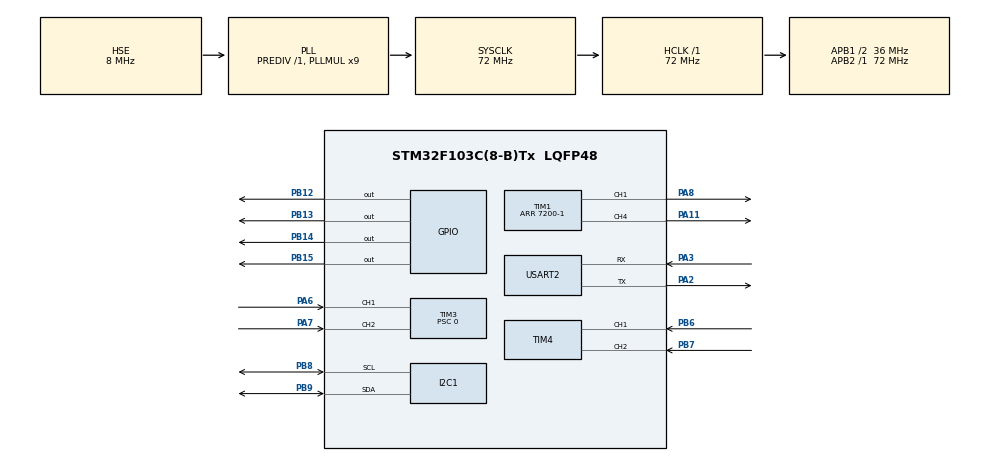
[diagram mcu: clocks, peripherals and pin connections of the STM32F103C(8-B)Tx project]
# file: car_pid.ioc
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Mcu.Family=STM32F1
Mcu.Name=STM32F103C(8-B)Tx
Mcu.Package=LQFP48
NVIC.PriorityGroup=NVIC_PRIORITYGROUP_4
NVIC.TIM2_IRQn=true\:0\:0\:false\:false\:true\:true\:true\:true
NVIC.TIM3_IRQn=true\:0\:0\:false\:false\:true\:true\:true\:true
NVIC.USART2_IRQn=true\:0\:0\:false\:false\:true\:true\:true\:true
PA11.Signal=S_TIM1_CH4
PA13.Mode=Serial_Wire
PA13.Signal=SYS_JTMS-SWDIO
PA14.Mode=Serial_Wire
PA14.Signal=SYS_JTCK-SWCLK
PA2.Mode=Asynchronous
PA2.Signal=USART2_TX
PA3.Mode=Asynchronous
PA3.Signal=USART2_RX
PA6.Signal=S_TIM3_CH1
PA7.Signal=S_TIM3_CH2
PA8.Signal=S_TIM1_CH1
PB12.GPIO_ModeDefaultOutputPP=GPIO_MODE_OUTPUT_PP
PB12.PinState=GPIO_PIN_RESET
PB12.Signal=GPIO_Output
PB13.GPIO_ModeDefaultOutputPP=GPIO_MODE_OUTPUT_PP
PB13.PinState=GPIO_PIN_RESET
PB13.Signal=GPIO_Output
PB14.GPIO_ModeDefaultOutputPP=GPIO_MODE_OUTPUT_PP
PB14.PinState=GPIO_PIN_RESET
PB14.Signal=GPIO_Output
PB15.GPIO_ModeDefaultOutputPP=GPIO_MODE_OUTPUT_PP
PB15.PinState=GPIO_PIN_RESET
PB15.Signal=GPIO_Output
PB6.Signal=S_TIM4_CH1
PB7.Signal=S_TIM4_CH2
PB8.Mode=I2C
PB8.Signal=I2C1_SCL
PB9.GPIO_Mode=GPIO_MODE_AF_OD
PB9.Mode=I2C
PB9.Signal=I2C1_SDA
PD0-OSC_IN.Mode=HSE-External-Oscillator
PD0-OSC_IN.Signal=RCC_OSC_IN
PD1-OSC_OUT.Mode=HSE-External-Oscillator
PD1-OSC_OUT.Signal=RCC_OSC_OUT
ProjectManager.HeapSize=0x200
ProjectManager.StackSize=0x400
ProjectManager.TargetToolchain=MDK-ARM V5.32
RCC.AHBFreq_Value=72000000
RCC.APB1CLKDivider=RCC_HCLK_DIV2
RCC.APB1Freq_Value=36000000
RCC.APB1TimFreq_Value=72000000
RCC.APB2Freq_Value=72000000
RCC.APB2TimFreq_Value=72000000
RCC.HCLKFreq_Value=72000000
RCC.PLLMUL=RCC_PLL_MUL9
RCC.PLLSourceVirtual=RCC_PLLSOURCE_HSE
RCC.SYSCLKFreq_VALUE=72000000
RCC.SYSCLKSource=RCC_SYSCLKSOURCE_PLLCLK
RCC.USBFreq_Value=72000000
SH.S_TIM1_CH1.0=TIM1_CH1,PWM Generation1 CH1
SH.S_TIM1_CH4.0=TIM1_CH4,PWM Generation4 CH4
SH.S_TIM3_CH1.0=TIM3_CH1,Encoder_Interface
SH.S_TIM3_CH2.0=TIM3_CH2,Encoder_Interface
SH.S_TIM4_CH1.0=TIM4_CH1,Encoder_Interface
SH.S_TIM4_CH2.0=TIM4_CH2,Encoder_Interface
TIM1.Channel-PWM\ Generation1\ CH1=TIM_CHANNEL_1
TIM1.Channel-PWM\ Generation4\ CH4=TIM_CHANNEL_4
TIM1.Period=7200-1
TIM1.Pulse-PWM\ Generation1\ CH1=0
TIM1.Pulse-PWM\ Generation4\ CH4=0
TIM2.Period=19
TIM2.Prescaler=7199
TIM3.EncoderMode=TIM_ENCODERMODE_TI12
TIM3.Period=65535
TIM3.Prescaler=0
TIM4.EncoderMode=TIM_ENCODERMODE_TI12
USART2.VirtualMode=VM_ASYNC
VP_TIM1_VS_ClockSourceINT.Mode=Internal
VP_TIM2_VS_ClockSourceINT.Mode=Internal
board=custom

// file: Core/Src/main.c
/* USER CODE BEGIN Header */
/**
 ******************************************************************************
 * @file           : main.c
 * @brief          : Main  program body
 ******************************************************************************
 * @attention
 *
 * Copyright (c) 2026 STMicroelectronics.
 * All rights reserved.
 *
 * This software is licensed under terms that can be found in the LICENSE file
 * in the root directory of this software component.
 * If no LICENSE file comes with this software, it is provided AS-IS.
 *
 ******************************************************************************
 */
/* USER CODE END Header */
#include "main.h"
#include "i2c.h"
#include "tim.h"
#include "usart.h"
#include "gpio.h"

/* USER CODE BEGIN Includes */
#include "head.h"
/* USER CODE END Includes */

/* USER CODE BEGIN PD */

#define MOTOR_TEST_WITHOUT_MPU 0 // 1: 上电自检电机 1 秒（无 MPU/DMP 时可用）；0: 不自检，直接进入 PID 控制
#define BALANCE_LOOP_ONLY 1      // 1:关闭速度环     0: 开启速度环
#define ENABLE_UPRIGHT_CONTROL 1 // 1: 允许PID 控制；0: PID 控制（仅用于调试）
#define CONTROL_DEBUG_OLED 0     // 1=MPU initialization diagnostics, 0=PID component-ratio view
#define OLED_REFRESH_MS 100U     // OLED refresh period (ms)
#define OLED_PID_VIEW 1          // 0=速度环 P/I/D, 1=直立环 loop P/I/D
#define SPEED_DIRECTION_OLED 0   // 1=OLED显示100ms编码器累计值，用于检查速度环方向
#define OLED_ENABLE 1            // 0=完全关闭OLED初始化与刷新，用于排查串口

/* USER CODE END PD */

/* USER CODE BEGIN PV */
// int Encoder_left,Encoder_Right;
// float pitch,roll,yaw;
uint32_t sys_tick;
uint8_t flag_10s = 0; // TIM3 中断计数（5ms/次）
uint8_t mpu_ok = 0;   // DMP 初始化成功标志，供 TIM3 中断内控制使用
uint8_t mpu_ack = 1;
uint8_t mpu_who = 0;
uint8_t mpu_addr = 0;
uint8_t i2c_bus_ok = 1;
extern float roll, pitch, yaw;
extern int Encoder_Left, Encoder_Right;
extern float distance;
extern int MOTO1, MOTO2;
static volatile int32_t encoder_left_sum = 0;
static volatile int32_t encoder_right_sum = 0;
/* USER CODE END PV */

void SystemClock_Config(void);
/* USER CODE BEGIN PFP */
// 閺勫墽銇?
// void R65ad(void);
void HAL_TIM_PeriodElapsedCallback(TIM_HandleTypeDef *htim);
/* USER CODE END PFP */

/* USER CODE BEGIN 0 */
// OLED 显示带符号整数：固定符号位 + len 位数值（前导零填充空格）
static void OLED_ShowSignedNum(uint8_t x, uint8_t y, int num, uint8_t len, uint8_t size2)
{
  if (num < 0)
  {
    OLED_ShowChar(x, y, '-', size2);
    num = -num;
  }
  else
  {
    OLED_ShowChar(x, y, '+', size2);
  }
  OLED_ShowNum(x + size2 / 2, y, (unsigned int)num, len, size2);
}

// Integer absolute value used for PID component percentages.
static int AbsInt(int value)
{
  return (value < 0) ? -value : value;
}
/* USER CODE END 0 */

int main(void)
{

  /* USER CODE BEGIN 1 */
  uint8_t dmp_ret = 0; // DMP 初始化返回值（全局，供主循环显示）
  /* USER CODE END 1 */

  /* MCU Configuration--------------------------------------------------------*/

  /* Reset of all peripherals, Initializes the Flash interface and the Systick. */
  HAL_Init();

  /* Configure the system clock */
  SystemClock_Config();

  /* USER CODE BEGIN SysInit */
  // // 直接操作寄存器释�? PB3(JTDO)/PB4(JNTRST)，仅保留 SWD(PA13/PA14)
  RCC->APB2ENR |= RCC_APB2ENR_AFIOEN;
  AFIO->MAPR = (AFIO->MAPR & ~0x07000000) | 0x02000000; // SWJ_CFG=010: JTAG off, SWD on
  for (volatile int _i = 0; _i < 100; _i++)
    ; // �? AFIO 生效
  /* USER CODE END SysInit */

  /* Initialize all configured peripherals */
  MX_GPIO_Init();
  MX_TIM1_Init();
  MX_I2C1_Init();
  MX_TIM4_Init();
  MX_TIM3_Init();
  MX_USART2_UART_Init();
  MX_TIM2_Init();
  /* USER CODE BEGIN 2 */
  VOFA_Init();
  HAL_Delay(500);
  i2c_bus_ok = (HAL_I2C_IsDeviceReady(&hi2c1, (uint16_t)(0x3C << 1), 3, 100) == HAL_OK) ? 0 : 1;
  mpu_ack = MPU_CheckDevice();
  mpu_addr = MPU_GetAddress();
  mpu_who = MPU_Read_Byte(MPU_DEVICE_ID_REG);

  dmp_ret = mpu_dmp_init();
  if (dmp_ret == 0)
  {
    mpu_ok = 1;
  }
  else
  {
  }

  /* 电机 PWM/编码器与 MPU/DMP 解耦，先初始化硬件。 */
  HAL_TIM_PWM_Start(&htim1, TIM_CHANNEL_4);
  HAL_TIM_PWM_Start(&htim1, TIM_CHANNEL_1);
  HAL_TIM_Encoder_Start(&htim3, TIM_CHANNEL_ALL);
  HAL_TIM_Encoder_Start(&htim4, TIM_CHANNEL_ALL);
  Load(0, 0);

#if MOTOR_TEST_WITHOUT_MPU
  /* 无 MPU 时执行 1 秒电机自检；确认正常后可将宏改为 0。 */
  Load(3600, 3600);
  HAL_Delay(1000);
  Load(0, 0);
#endif

  HAL_TIM_Base_Start_IT(&htim2);
  /* USER CODE BEGIN 2 */
#if OLED_ENABLE
  /* OLED 显示初始化，用于显示 PID 状态/按键自检（无需串口） */
  OLED_Init();
  OLED_Clear();
#endif
  /* USER CODE END 2 */

  /* Infinite loop */
  /* USER CODE BEGIN WHILE */
  while (1)
  {
#if OLED_ENABLE
    static uint32_t oled_refresh_tick = 0;
#endif
    /* 控制已在 TIM3 中断内以固定 10ms 硬实时节拍执行，不受串口/延时阻塞干扰 */
    /* 串口输出：文本/波形模式在 vofa.h 里切换，此函数内部自动节流 */
    VOFA_PeriodicTask();

#if OLED_ENABLE
    /* OLED PID component view: each P/I/D term is shown as a percentage of
       the sum of absolute component outputs. Select speed or balance loop with
       OLED_PID_VIEW at the top of this file. */
#if SPEED_DIRECTION_OLED
    if ((HAL_GetTick() - oled_refresh_tick) >= OLED_REFRESH_MS)
    {
      int32_t encoder_left_display;
      int32_t encoder_right_display;
      int32_t encoder_sum_display;

      oled_refresh_tick = HAL_GetTick();

      /* 与TIM3中断交换累计值，避免显示刷新期间丢失编码器脉冲。 */
      __disable_irq();
      encoder_left_display = encoder_left_sum;
      encoder_right_display = encoder_right_sum;
      encoder_left_sum = 0;
      encoder_right_sum = 0;
      __enable_irq();

      encoder_sum_display = encoder_left_display + encoder_right_display;

      OLED_Clear();
      OLED_ShowString(0, 0, (uint8_t *)"EL:", 16);
      OLED_ShowSignedNum(32, 0, (int)encoder_left_display, 5, 16);
      OLED_ShowString(0, 2, (uint8_t *)"ER:", 16);
      OLED_ShowSignedNum(32, 2, (int)encoder_right_display, 5, 16);
      OLED_ShowString(0, 4, (uint8_t *)"SUM:", 16);
      OLED_ShowSignedNum(40, 4, (int)encoder_sum_display, 5, 16);
      OLED_ShowString(0, 6, (uint8_t *)"FWD KP:", 16);
      if (encoder_sum_display > 2)
        OLED_ShowChar(64, 6, '-', 16);
      else if (encoder_sum_display < -2)
        OLED_ShowChar(64, 6, '+', 16);
      else
        OLED_ShowChar(64, 6, '?', 16);
    }
#elif CONTROL_DEBUG_OLED
    int pitch_x10 = (int)(pitch * 10.0f);
    OLED_Clear();
    OLED_ShowString(0, 0, (uint8_t *)"A:", 16);
    OLED_ShowSignedNum(16, 0, mpu_ack, 1, 16);
    OLED_ShowString(40, 0, (uint8_t *)"B:", 16);
    OLED_ShowSignedNum(56, 0, i2c_bus_ok, 1, 16);
    OLED_ShowString(80, 0, (uint8_t *)"E:", 16);
    OLED_ShowSignedNum(96, 0, dmp_ret, 2, 16);

    OLED_ShowString(0, 2, (uint8_t *)"ADDR:", 16);
    OLED_ShowSignedNum(56, 2, mpu_addr, 3, 16);

    OLED_ShowString(0, 4, (uint8_t *)"WHO:", 16);
    OLED_ShowSignedNum(40, 4, mpu_who, 3, 16);

    OLED_ShowString(0, 6, (uint8_t *)"M1:", 16);
    OLED_ShowSignedNum(32, 6, MOTO1, 5, 16);
#else
    if ((HAL_GetTick() - oled_refresh_tick) >= OLED_REFRESH_MS)
    {
      int p_out, i_out, d_out;
      int p_pct, i_pct, d_pct;
      int total_out;

      oled_refresh_tick = HAL_GetTick();

#if OLED_PID_VIEW == 1
      OLED_ShowString(0, 0, (uint8_t *)"PID: Stand", 16);
      p_out = Vertical_P_out;
      i_out = 0;
      d_out = Vertical_D_out;
#else
      OLED_ShowString(0, 0, (uint8_t *)"PID: Speed", 16);
      p_out = Velocity_P_out;
      i_out = Velocity_I_out;
      d_out = 0;
#endif

      total_out = AbsInt(p_out) + AbsInt(i_out) + AbsInt(d_out);
      p_pct = (total_out != 0) ? (int)((long)p_out * 100 / total_out) : 0;
      i_pct = (total_out != 0) ? (int)((long)i_out * 100 / total_out) : 0;
      d_pct = (total_out != 0) ? (int)((long)d_out * 100 / total_out) : 0;

      OLED_Clear();
      if (total_out == 0)
      {
        OLED_ShowString(0, 2, (uint8_t *)"PID output = 0", 16);
      }
      else
      {
        OLED_ShowString(0, 2, (uint8_t *)"P:", 16);
        OLED_ShowSignedNum(32, 2, p_pct, 3, 16);
        OLED_ShowChar(64, 2, '%', 16);

        OLED_ShowString(0, 4, (uint8_t *)"I:", 16);
        OLED_ShowSignedNum(32, 4, i_pct, 3, 16);
        OLED_ShowChar(64, 4, '%', 16);

        OLED_ShowString(0, 6, (uint8_t *)"D:", 16);
        OLED_ShowSignedNum(32, 6, d_pct, 3, 16);
        OLED_ShowChar(64, 6, '%', 16);
      }
    }
#endif
#endif
    /* USER CODE END WHILE */

  }
}

void SystemClock_Config(void)
{
  RCC_OscInitTypeDef RCC_OscInitStruct = {0};
  RCC_ClkInitTypeDef RCC_ClkInitStruct = {0};

  /** Initializes the RCC Oscillators according to the specified parameters
   * in the RCC_OscInitTypeDef structure.
   */
  RCC_OscInitStruct.OscillatorType = RCC_OSCILLATORTYPE_HSE;
  RCC_OscInitStruct.HSEState = RCC_HSE_ON;
  RCC_OscInitStruct.HSEPredivValue = RCC_HSE_PREDIV_DIV1;
  RCC_OscInitStruct.HSIState = RCC_HSI_ON;
  RCC_OscInitStruct.PLL.PLLState = RCC_PLL_ON;
  RCC_OscInitStruct.PLL.PLLSource = RCC_PLLSOURCE_HSE;
  RCC_OscInitStruct.PLL.PLLMUL = RCC_PLL_MUL9;
  if (HAL_RCC_OscConfig(&RCC_OscInitStruct) != HAL_OK)
  {
    Error_Handler();
  }

  /** Initializes the CPU, AHB and APB buses clocks
   */
  RCC_ClkInitStruct.ClockType = RCC_CLOCKTYPE_HCLK | RCC_CLOCKTYPE_SYSCLK | RCC_CLOCKTYPE_PCLK1 | RCC_CLOCKTYPE_PCLK2;
  RCC_ClkInitStruct.SYSCLKSource = RCC_SYSCLKSOURCE_PLLCLK;
  RCC_ClkInitStruct.AHBCLKDivider = RCC_SYSCLK_DIV1;
  RCC_ClkInitStruct.APB1CLKDivider = RCC_HCLK_DIV2;
  RCC_ClkInitStruct.APB2CLKDivider = RCC_HCLK_DIV1;

  if (HAL_RCC_ClockConfig(&RCC_ClkInitStruct, FLASH_LATENCY_2) != HAL_OK)
  {
    Error_Handler();
  }
}

/* USER CODE BEGIN 4 */
void HAL_TIM_PeriodElapsedCallback(TIM_HandleTypeDef *htim)
{
  static uint8_t tick20ms = 0;
  if (htim->Instance == TIM2)
  {
#if SPEED_DIRECTION_OLED
    /* 方向测试仅采集编码器，禁止电机输出，便于安全地手推车轮。 */
    Encoder_Left = Read_Speed(&htim3);
    Encoder_Right = -Read_Speed(&htim4);
    encoder_left_sum += Encoder_Left;
    encoder_right_sum += Encoder_Right;
    Load(0, 0);
#else
    /* 固定 2ms 节拍*/
#if ENABLE_UPRIGHT_CONTROL
    if (mpu_ok)
    {
      Control();
      encoder_left_sum += Encoder_Left;
      encoder_right_sum += Encoder_Right;

      /* 速度环每20ms运行一次，使用期间内全部10次编码器计数。 */
      if (++tick20ms >= 10)
      {
        tick20ms = 0;
#if BALANCE_LOOP_ONLY
        Velocity_out = 0;
#else
        Velocity_out = Velocity(Target_Speed, (int)encoder_left_sum, (int)encoder_right_sum);
#endif
        encoder_left_sum = 0;
        encoder_right_sum = 0;
      }
    }
#else
    Load(0, 0);
#endif
#endif
  }
}
// void Read(void){
//   if(uwTick-sys_tick<10)
//     return;
//   sys_tick=uwTick;
//   Encoder_Left=Read_Speed(&htim2);
//   Encoder_Right=-Read_Speed(&htim4);
// }
/* USER CODE END 4 */

void Error_Handler(void)
{
  __disable_irq();
  while (1)
  {
  }
}
